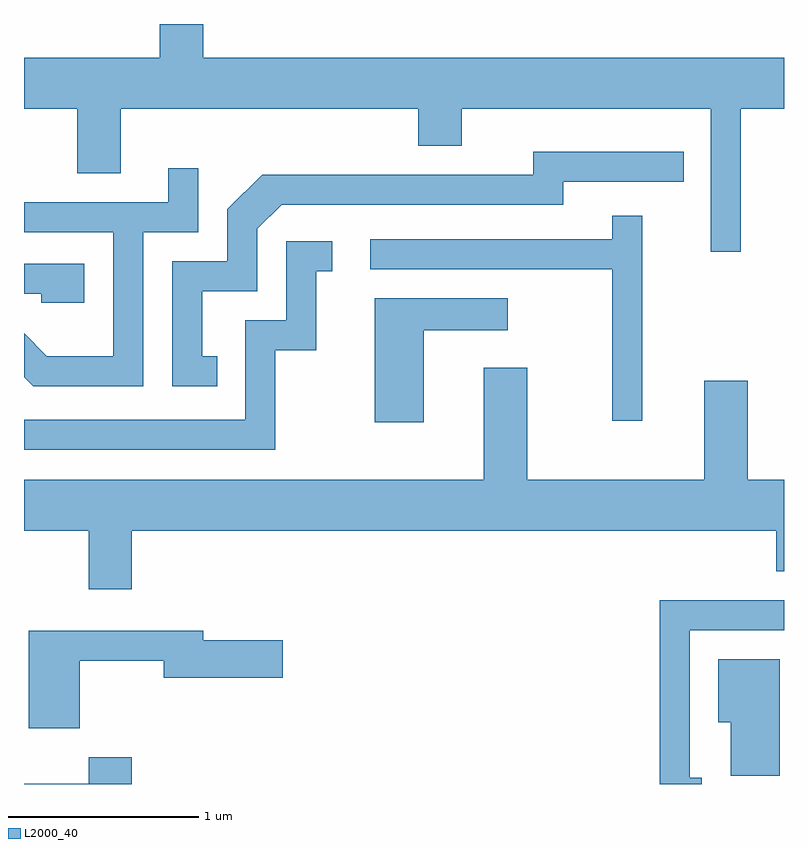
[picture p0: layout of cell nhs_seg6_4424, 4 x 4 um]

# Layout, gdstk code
import gdstk
lib = gdstk.Library(unit=1e-6, precision=1e-09)
def P(c, l, *ps):  # polygons
    for p in ps: c.add(gdstk.Polygon(p, *l))
L2000_40 = (2000, 40)

nhs_seg6_4424 = lib.new_cell('nhs_seg6_4424')
P(nhs_seg6_4424, L2000_40, [(323.384,1647.716),(323.611,1647.716),(323.611,1647.984),(320.554,1647.984),(320.554,1648.162),(320.326,1648.162),(320.326,1647.984),(319.611,1647.984),(319.611,1647.716),(319.891,1647.716),(319.891,1647.376),(320.119,1647.376),(320.119,1647.716),(321.686,1647.716),(321.686,1647.521),(321.914,1647.521),(321.914,1647.716),(323.226,1647.716),(323.226,1646.963),(323.384,1646.963)],
  [(320.628,1646.414),(320.549,1646.414),(320.549,1646.756),(320.839,1646.756),(320.839,1647.084),(320.967,1647.211),(322.449,1647.211),(322.449,1647.331),(323.083,1647.331),(323.083,1647.489),(322.291,1647.489),(322.291,1647.369),(320.864,1647.369),(320.681,1647.187),(320.681,1646.914),(320.391,1646.914),(320.391,1646.256),(320.628,1646.256)],
  [(320.239,1647.066),(320.529,1647.066),(320.529,1647.403),(320.371,1647.403),(320.371,1647.224),(319.611,1647.224),(319.611,1647.066),(320.081,1647.066),(320.081,1646.414),(319.732,1646.414),(319.611,1646.535),(319.611,1646.304),(319.659,1646.256),(320.239,1646.256)],
  [(322.864,1647.153),(322.706,1647.153),(322.706,1647.029),(321.433,1647.029),(321.433,1646.871),(322.706,1646.871),(322.706,1646.073),(322.864,1646.073)],
  [(320.934,1646.446),(321.149,1646.446),(321.149,1646.861),(321.233,1646.861),(321.233,1647.019),(320.991,1647.019),(320.991,1646.604),(320.776,1646.604),(320.776,1646.079),(319.611,1646.079),(319.611,1645.921),(320.934,1645.921)],
  [(319.929,1646.899),(319.611,1646.899),(319.611,1646.741),(319.701,1646.741),(319.701,1646.696),(319.929,1646.696)],
  [(321.714,1646.551),(322.158,1646.551),(322.158,1646.719),(321.456,1646.719),(321.456,1646.066),(321.714,1646.066)],
  [(320.179,1645.496),(323.571,1645.496),(323.571,1645.281),(323.611,1645.281),(323.611,1645.764),(323.419,1645.764),(323.419,1646.284),(323.191,1646.284),(323.191,1645.764),(322.259,1645.764),(322.259,1646.354),(322.031,1646.354),(322.031,1645.764),(319.611,1645.764),(319.611,1645.496),(319.951,1645.496),(319.951,1645.186),(320.179,1645.186)],
  [(323.179,1644.194),(323.114,1644.194),(323.114,1644.971),(323.611,1644.971),(323.611,1645.129),(322.956,1645.129),(322.956,1644.162),(323.179,1644.162)],
  [(319.904,1644.811),(320.346,1644.811),(320.346,1644.721),(320.974,1644.721),(320.974,1644.919),(320.554,1644.919),(320.554,1644.969),(319.636,1644.969),(319.636,1644.456),(319.904,1644.456)],
  [(323.589,1644.819),(323.266,1644.819),(323.266,1644.486),(323.331,1644.486),(323.331,1644.206),(323.589,1644.206)],
  [(320.179,1644.304),(319.951,1644.304),(319.951,1644.164),(319.611,1644.164),(319.611,1644.162),(320.179,1644.162)])

lib.write_gds('nhs_seg6_4424.gds')
